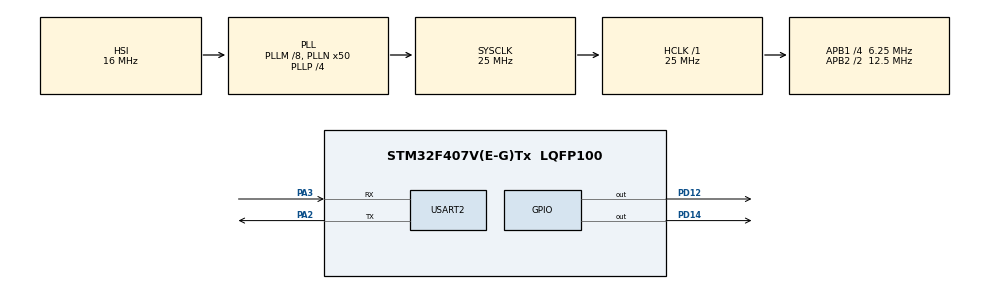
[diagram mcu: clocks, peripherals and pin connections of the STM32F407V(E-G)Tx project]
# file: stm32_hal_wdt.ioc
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IWDG.Prescaler=IWDG_PRESCALER_64
Mcu.Family=STM32F4
Mcu.Name=STM32F407V(E-G)Tx
Mcu.Package=LQFP100
NVIC.PriorityGroup=NVIC_PRIORITYGROUP_0
PA2.Mode=Asynchronous
PA2.Signal=USART2_TX
PA3.Mode=Asynchronous
PA3.Signal=USART2_RX
PD12.Signal=GPIO_Output
PD14.Signal=GPIO_Output
ProjectManager.HeapSize=0x200
ProjectManager.StackSize=0x400
ProjectManager.TargetToolchain=STM32CubeIDE
RCC.48MHZClocksFreq_Value=14285714.285714285
RCC.AHBFreq_Value=25000000
RCC.APB1CLKDivider=RCC_HCLK_DIV4
RCC.APB1Freq_Value=6250000
RCC.APB1TimFreq_Value=12500000
RCC.APB2CLKDivider=RCC_HCLK_DIV2
RCC.APB2Freq_Value=12500000
RCC.APB2TimFreq_Value=25000000
RCC.CortexFreq_Value=25000000
RCC.HCLKFreq_Value=25000000
RCC.HSE_VALUE=8000000
RCC.HSI_VALUE=16000000
RCC.LSE_VALUE=32768
RCC.PLLM=8
RCC.PLLN=50
RCC.PLLP=RCC_PLLP_DIV4
RCC.PLLQ=7
RCC.SYSCLKFreq_VALUE=25000000
RCC.SYSCLKSource=RCC_SYSCLKSOURCE_PLLCLK
RCC.VCOOutputFreq_Value=100000000
USART2.VirtualMode=VM_ASYNC
VP_IWDG_VS_IWDG.Mode=IWDG_Activate
board=STM32F407G-DISC1

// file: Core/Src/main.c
/* USER CODE BEGIN Header */
/**
  ******************************************************************************
  * @file           : main.c
  * @brief          : Main program body
  ******************************************************************************
  * @attention
  *
  * Copyright (c) 2023 STMicroelectronics.
  * All rights reserved.
  *
  * This software is licensed under terms that can be found in the LICENSE file
  * in the root directory of this software component.
  * If no LICENSE file comes with this software, it is provided AS-IS.
  *
  ******************************************************************************
  */
/* USER CODE END Header */
#include "main.h"

/* USER CODE BEGIN Includes */
#include <string.h>
#include <stdio.h>
/* USER CODE END Includes */

IWDG_HandleTypeDef hiwdg;

UART_HandleTypeDef huart2;

void SystemClock_Config(void);
static void MX_GPIO_Init(void);
static void MX_USART2_UART_Init(void);
static void MX_IWDG_Init(void);

/* USER CODE BEGIN 0 */

void UART_Gets(char str[]) {
	char ch;
	int i=0;
	do {
		HAL_UART_Receive(&huart2, (uint8_t*)&ch, sizeof(ch), HAL_MAX_DELAY);
		str[i++] = ch;
	} while(ch != '\r');
	str[i++] = '\n';
	str[i++] = '\0';
}

/* USER CODE END 0 */

int main(void)
{
  /* USER CODE BEGIN 1 */
	int iwdgReset = 0;
  /* USER CODE END 1 */

  /* MCU Configuration--------------------------------------------------------*/

  /* Reset of all peripherals, Initializes the Flash interface and the Systick. */
  HAL_Init();

  /* USER CODE BEGIN Init */
  // check if reset is due to wdt
  if(__HAL_RCC_GET_FLAG(RCC_FLAG_IWDGRST)) {
  	  iwdgReset = 1;
  	  __HAL_RCC_CLEAR_RESET_FLAGS();
  }
  /* USER CODE END Init */

  /* Configure the system clock */
  SystemClock_Config();

  /* Initialize all configured peripherals */
  MX_GPIO_Init();
  MX_USART2_UART_Init();
  MX_IWDG_Init();
  /* USER CODE BEGIN 2 */
  while(iwdgReset) {
	 HAL_GPIO_TogglePin(GPIOD, GPIO_PIN_14);
	 HAL_Delay(200);
  }
  /* USER CODE END 2 */

  /* Infinite loop */
  /* USER CODE BEGIN WHILE */
  HAL_UART_Transmit(&huart2, (uint8_t*)"Enter a string...\r\n", 19, HAL_MAX_DELAY);
  //HAL_IWDG_Init(&hiwdg); // already done by MX_IWDG_Init() // initialize wdt to some count = 5 sec
  while (1)
  {
	  char str[32];
	  UART_Gets(str);
	  strupr(str);
	  HAL_UART_Transmit(&huart2, (uint8_t*)str, strlen(str), HAL_MAX_DELAY);
	  HAL_GPIO_TogglePin(GPIOD, GPIO_PIN_12);
	  HAL_IWDG_Refresh(&hiwdg); // feed wdt
    /* USER CODE END WHILE */

  }
}

void SystemClock_Config(void)
{
  RCC_OscInitTypeDef RCC_OscInitStruct = {0};
  RCC_ClkInitTypeDef RCC_ClkInitStruct = {0};

  /** Configure the main internal regulator output voltage
  */
  __HAL_RCC_PWR_CLK_ENABLE();
  __HAL_PWR_VOLTAGESCALING_CONFIG(PWR_REGULATOR_VOLTAGE_SCALE1);

  /** Initializes the RCC Oscillators according to the specified parameters
  * in the RCC_OscInitTypeDef structure.
  */
  RCC_OscInitStruct.OscillatorType = RCC_OSCILLATORTYPE_HSI|RCC_OSCILLATORTYPE_LSI;
  RCC_OscInitStruct.HSIState = RCC_HSI_ON;
  RCC_OscInitStruct.HSICalibrationValue = RCC_HSICALIBRATION_DEFAULT;
  RCC_OscInitStruct.LSIState = RCC_LSI_ON;
  RCC_OscInitStruct.PLL.PLLState = RCC_PLL_ON;
  RCC_OscInitStruct.PLL.PLLSource = RCC_PLLSOURCE_HSI;
  RCC_OscInitStruct.PLL.PLLM = 8;
  RCC_OscInitStruct.PLL.PLLN = 50;
  RCC_OscInitStruct.PLL.PLLP = RCC_PLLP_DIV4;
  RCC_OscInitStruct.PLL.PLLQ = 7;
  if (HAL_RCC_OscConfig(&RCC_OscInitStruct) != HAL_OK)
  {
    Error_Handler();
  }

  /** Initializes the CPU, AHB and APB buses clocks
  */
  RCC_ClkInitStruct.ClockType = RCC_CLOCKTYPE_HCLK|RCC_CLOCKTYPE_SYSCLK
                              |RCC_CLOCKTYPE_PCLK1|RCC_CLOCKTYPE_PCLK2;
  RCC_ClkInitStruct.SYSCLKSource = RCC_SYSCLKSOURCE_PLLCLK;
  RCC_ClkInitStruct.AHBCLKDivider = RCC_SYSCLK_DIV1;
  RCC_ClkInitStruct.APB1CLKDivider = RCC_HCLK_DIV4;
  RCC_ClkInitStruct.APB2CLKDivider = RCC_HCLK_DIV2;

  if (HAL_RCC_ClockConfig(&RCC_ClkInitStruct, FLASH_LATENCY_0) != HAL_OK)
  {
    Error_Handler();
  }
}

static void MX_IWDG_Init(void)
{

  hiwdg.Instance = IWDG;
  hiwdg.Init.Prescaler = IWDG_PRESCALER_64;
  hiwdg.Init.Reload = 4095;
  if (HAL_IWDG_Init(&hiwdg) != HAL_OK)
  {
    Error_Handler();
  }

}

static void MX_USART2_UART_Init(void)
{

  huart2.Instance = USART2;
  huart2.Init.BaudRate = 115200;
  huart2.Init.WordLength = UART_WORDLENGTH_8B;
  huart2.Init.StopBits = UART_STOPBITS_1;
  huart2.Init.Parity = UART_PARITY_NONE;
  huart2.Init.Mode = UART_MODE_TX_RX;
  huart2.Init.HwFlowCtl = UART_HWCONTROL_NONE;
  huart2.Init.OverSampling = UART_OVERSAMPLING_16;
  if (HAL_UART_Init(&huart2) != HAL_OK)
  {
    Error_Handler();
  }

}

static void MX_GPIO_Init(void)
{
  GPIO_InitTypeDef GPIO_InitStruct = {0};

  /* GPIO Ports Clock Enable */
  __HAL_RCC_GPIOA_CLK_ENABLE();
  __HAL_RCC_GPIOD_CLK_ENABLE();

  /*Configure GPIO pin Output Level */
  HAL_GPIO_WritePin(GPIOD, GPIO_PIN_12|GPIO_PIN_14, GPIO_PIN_RESET);

  /*Configure GPIO pins : PD12 PD14 */
  GPIO_InitStruct.Pin = GPIO_PIN_12|GPIO_PIN_14;
  GPIO_InitStruct.Mode = GPIO_MODE_OUTPUT_PP;
  GPIO_InitStruct.Pull = GPIO_NOPULL;
  GPIO_InitStruct.Speed = GPIO_SPEED_FREQ_LOW;
  HAL_GPIO_Init(GPIOD, &GPIO_InitStruct);

}

void Error_Handler(void)
{
  __disable_irq();
  while (1)
  {
  }
}
